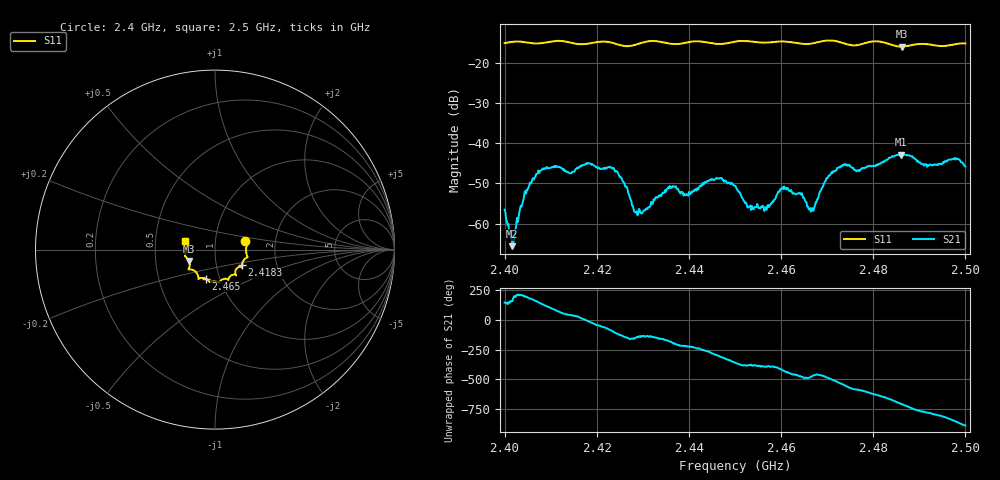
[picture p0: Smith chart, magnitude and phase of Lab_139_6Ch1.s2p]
# Hz S RI R 50
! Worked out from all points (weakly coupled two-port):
!   601 points, 2.4 GHz to 2.5 GHz, reference 50 ohm
!   highest |S21| = -42.89 dB at 2.486 GHz (marker M1); lowest = -65.6 dB at 2.4017 GHz (marker M2)
!   lowest |S11| = -16.0 dB at 2.4862 GHz (marker M3), VSWR 1.37, Z = 37.1 - j4.83 ohm
!   |S11| at or under -10 dB: start of sweep to end of sweep
!   S12 and S22 are empty: the file has one direction only
!   S11 on the Smith chart (normalised r, x): 2.4 GHz: 1.40, +0.13; 2.4183 GHz: 1.33, -0.24; 2.465 GHz: 0.86, -0.29; 2.5 GHz: 0.71, +0.07
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2.4e9  0.1689 0.0457  -0.0012 0.00088  0 0  0 0
2.401667e9  0.1773 0.0377  -0.000471 0.000227  0 0  0 0
2.404667e9  0.1771 0.0218  -0.00232 -0.000376  0 0  0 0
2.407333e9  0.1731 -0.00761  -0.00377 0.00259  0 0  0 0
2.416667e9  0.1549 -0.0682  0.00501 0.00116  0 0  0 0
2.418333e9  0.1499 -0.0867  0.00537 -0.0016  0 0  0 0
2.424167e9  0.141 -0.0962  -0.00169 -0.00413  0 0  0 0
2.4285e9  0.1126 -0.124  -0.00118 -0.000693  0 0  0 0
2.433333e9  0.1168 -0.1413  -0.00195 -0.000886  0 0  0 0
2.446333e9  0.0498 -0.1633  0.0019 0.00311  0 0  0 0
2.45e9  0.0251 -0.1805  0.00296 8.15e-05  0 0  0 0
2.454e9  0.0141 -0.1809  0.00138 -0.000585  0 0  0 0
2.456833e9  -0.00838 -0.1771  0.00123 -0.000813  0 0  0 0
2.4605e9  -0.0293 -0.1811  0.00103 -0.00248  0 0  0 0
2.465e9  -0.0529 -0.162  -0.00124 -0.00166  0 0  0 0
2.466667e9  -0.0714 -0.1575  -0.000699 -0.00139  0 0  0 0
2.469833e9  -0.0919 -0.1638  -0.00194 -0.00309  0 0  0 0
2.472667e9  -0.0919 -0.1554  -0.00493 -0.00096  0 0  0 0
2.483333e9  -0.1419 -0.0958  0.00337 0.00554  0 0  0 0
2.486e9  -0.1438 -0.0653  0.00686 0.00208  0 0  0 0
2.486167e9  -0.1446 -0.0635  0.00689 0.00171  0 0  0 0
2.5e9  -0.1668 0.0474  -0.00494 -0.0013  0 0  0 0
